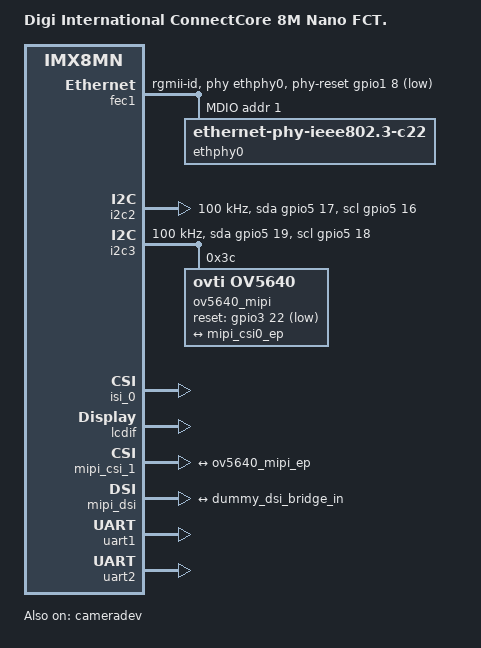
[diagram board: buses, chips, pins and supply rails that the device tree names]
/*
 * Copyright 2021, Digi International Inc.
 *
 * Permission to use, copy, modify, and/or distribute this software for any
 * purpose with or without fee is hereby granted, provided that the above
 * copyright notice and this permission notice appear in all copies.
 * THE SOFTWARE IS PROVIDED "AS IS" AND THE AUTHOR DISCLAIMS ALL WARRANTIES
 * WITH REGARD TO THIS SOFTWARE INCLUDING ALL IMPLIED WARRANTIES OF
 * MERCHANTABILITY AND FITNESS. IN NO EVENT SHALL THE AUTHOR BE LIABLE FOR
 * ANY SPECIAL, DIRECT, INDIRECT, OR CONSEQUENTIAL DAMAGES OR ANY DAMAGES
 * WHATSOEVER RESULTING FROM LOSS OF USE, DATA OR PROFITS, WHETHER IN AN
 * ACTION OF CONTRACT, NEGLIGENCE OR OTHER TORTIOUS ACTION, ARISING OUT OF
 * OR IN CONNECTION WITH THE USE OR PERFORMANCE OF THIS SOFTWARE.
 */

/dts-v1/;

/* i.MX8MN CPU */
#include "../freescale/imx8mn.dtsi"
/* Digi ConnectCore 8M Nano */
#include "ccimx8mn.dtsi"

/ {
	model = "Digi International ConnectCore 8M Nano FCT.";
	compatible = "digi,ccimx8mn-dvk", "digi,ccimx8mn", "digi,ccimx8m", "fsl,imx8mn";
	digi,machine,name = "ccimx8mn-dvk";

	chosen {
		bootargs = "console=ttymxc0,115200 earlycon=ec_imx6q,0x30860000,115200";
		stdout-path = &uart1;
	};

	/* DUMMY MIPI DSI BRIDGE */
	dummy_dsi_bridge {
		compatible = "digi,dummy_dsi_bridge";
		dsi-lanes = <4>;
		video-mode = <1>;
		status = "okay";

		display-timings {
			native-mode = <&mipi_analyzer>;

			/* MIPI Analyzer */
			mipi_analyzer: timing@0 {
				clock-frequency = <31500000>;
				hactive = <640>;
				vactive = <480>;
				hback-porch = <4>;
				hfront-porch = <10>;
				vback-porch = <34>;
				vfront-porch = <20>;
				hsync-len = <2>;
				vsync-len = <2>;
				hsync-active = <0>;
				vsync-active = <0>;
				de-active = <0>;
				pixelclk-active = <0>;
			};
		};
		port {
			dummy_dsi_bridge_in: endpoint {
				remote-endpoint = <&mipi_dsi_out>;
			};
		};
	};

	regulators {
		compatible = "simple-bus";
		#address-cells = <1>;
		#size-cells = <0>;
	};
};

&cameradev {
	status = "okay";
};

&fec1 {
	pinctrl-names = "default";
	pinctrl-0 = <&pinctrl_fec1_gpio>,
		    <&pinctrl_fec1>;
	phy-mode = "rgmii-id";
	phy-handle = <&ethphy0>;
	phy-reset-gpios = <&gpio1 8 GPIO_ACTIVE_LOW>;
	phy-reset-duration = <1>;
	fsl,magic-packet;
	status = "okay";

	mdio {
		#address-cells = <1>;
		#size-cells = <0>;

		ethphy0: ethernet-phy@0 {
			compatible = "ethernet-phy-ieee802.3-c22";
			reg = <1>;
			at803x,eee-disabled;
			at803x,vddio-1p8v;
		};
	};
};

/*
 * I2C2 connected to I2C Temperature Sensor.
 * Also available on:
 * - Parallel Camera connector
 */
&i2c2 {
	#address-cells = <1>;
	#size-cells = <0>;
	clock-frequency = <100000>;
	pinctrl-names = "default", "gpio";
	pinctrl-0 = <&pinctrl_i2c2>;
	pinctrl-1 = <&pinctrl_i2c2_gpio>;
	scl-gpios = <&gpio5 16 GPIO_ACTIVE_HIGH>;
	sda-gpios = <&gpio5 17 GPIO_ACTIVE_HIGH>;
	status = "okay";
};


/* I2C3 connected to MIPI Camera connector */
&i2c3 {
	clock-frequency = <100000>;
	pinctrl-names = "default", "gpio";
	pinctrl-0 = <&pinctrl_i2c3>;
	pinctrl-1 = <&pinctrl_i2c3_gpio>;
	scl-gpios = <&gpio5 18 GPIO_ACTIVE_HIGH>;
	sda-gpios = <&gpio5 19 GPIO_ACTIVE_HIGH>;
	status = "okay";

	/* MIPI-CSI camera */
	ov5640_mipi: ov5640_mipi@3c {
		compatible = "ovti,ov5640";
		reg = <0x3c>;
		pinctrl-names = "default";
		pinctrl-0 = <&pinctrl_mipi>;
		clocks = <&clk IMX8MN_CLK_CLKO1>;
		clock-names = "xclk";
		assigned-clocks = <&clk IMX8MN_CLK_CLKO1>;
		assigned-clock-parents = <&clk IMX8MN_CLK_24M>;
		assigned-clock-rates = <24000000>;
		csi_id = <0>;
		reset-gpios = <&gpio3 22 GPIO_ACTIVE_LOW>;
		mclk = <24000000>;
		mclk_source = <0>;
		mipi_csi;

		port {
			ov5640_mipi_ep: endpoint {
				remote-endpoint = <&mipi_csi0_ep>;
				data-lanes = <1 2>;
				clocks-lanes = <0>;
			};
		};
	};
};

&isi_0 {
	status = "okay";

	cap_device {
		status = "okay";
	};
};

&lcdif {
	status = "okay";
};

&mipi_csi_1 {
	#address-cells = <1>;
	#size-cells = <0>;
	status = "okay";

	/* Camera 0  MIPI CSI-2 (CSIS0) */
	port@0 {
		reg = <0>;
		mipi_csi0_ep: endpoint {
			remote-endpoint = <&ov5640_mipi_ep>;
			data-lanes = <2>;
			csis-hs-settle = <13>;
			csis-clk-settle = <2>;
			csis-wclk;
		};
	};
};

&mipi_dsi {
	status = "okay";

	port@1 {
		mipi_dsi_out: endpoint {
			remote-endpoint = <&dummy_dsi_bridge_in>;
			attach-bridge;
		};
	};
};

/* Console */
&uart1 {
	pinctrl-names = "default", "sleep";
	pinctrl-0 = <&pinctrl_uart1>;
	pinctrl-1 = <&pinctrl_uart1_sleep>;
	status = "okay";
};

/* UART2 (Bluetooth/Loopback) */
&uart2 {
	status = "okay";
};

/* IOMUX */
&iomuxc {
	pinctrl-names = "default";
	pinctrl-0 = <&pinctrl_hog_common>, <&pinctrl_hog_non_wb>;

	pinctrl_hog_common: hoggrpcommon {
		fsl,pins = <
			/* COMMON PAIRS */
			MX8MN_IOMUXC_SAI2_MCLK_GPIO4_IO27	0x140
			MX8MN_IOMUXC_UART2_RXD_GPIO5_IO24	0x140
			MX8MN_IOMUXC_GPIO1_IO14_GPIO1_IO14	0x140
			MX8MN_IOMUXC_UART2_TXD_GPIO5_IO25	0x140
			MX8MN_IOMUXC_GPIO1_IO12_GPIO1_IO12	0x140
			MX8MN_IOMUXC_SAI2_TXFS_GPIO4_IO24	0x140
			MX8MN_IOMUXC_GPIO1_IO13_GPIO1_IO13	0x140
			MX8MN_IOMUXC_SAI5_MCLK_GPIO3_IO25	0x140
			MX8MN_IOMUXC_GPIO1_IO15_GPIO1_IO15	0x140
			MX8MN_IOMUXC_ECSPI2_SCLK_GPIO5_IO10	0x140
			MX8MN_IOMUXC_SAI5_RXD2_GPIO3_IO23	0x140
			MX8MN_IOMUXC_UART1_TXD_GPIO5_IO23	0x140
			MX8MN_IOMUXC_SD2_RESET_B_GPIO2_IO19	0x140
			MX8MN_IOMUXC_SAI5_RXD0_GPIO3_IO21	0x140
			MX8MN_IOMUXC_SAI5_RXD3_GPIO3_IO24	0x140
			MX8MN_IOMUXC_ECSPI2_MOSI_GPIO5_IO11	0x140
			MX8MN_IOMUXC_SAI3_RXFS_GPIO4_IO28	0x140
			MX8MN_IOMUXC_ECSPI2_SS0_GPIO5_IO13	0x140
			MX8MN_IOMUXC_SD2_CMD_GPIO2_IO14		0x140
			MX8MN_IOMUXC_UART1_RXD_GPIO5_IO22	0x140
			MX8MN_IOMUXC_SD2_WP_GPIO2_IO20		0x140
			MX8MN_IOMUXC_ECSPI2_MISO_GPIO5_IO12	0x140
			MX8MN_IOMUXC_SAI3_TXD_GPIO5_IO1		0x140
			MX8MN_IOMUXC_GPIO1_IO06_GPIO1_IO6	0x140
			MX8MN_IOMUXC_SD2_DATA0_GPIO2_IO15	0x140
			MX8MN_IOMUXC_SAI2_TXD0_GPIO4_IO26	0x140
			MX8MN_IOMUXC_SD2_CD_B_GPIO2_IO12	0x140
			MX8MN_IOMUXC_SAI2_RXD0_GPIO4_IO23	0x140
			MX8MN_IOMUXC_SAI3_MCLK_GPIO5_IO2	0x140
			MX8MN_IOMUXC_SAI2_TXC_GPIO4_IO25	0x140
			MX8MN_IOMUXC_SD2_DATA1_GPIO2_IO16	0x140
			MX8MN_IOMUXC_SAI5_RXFS_GPIO3_IO19	0x140
			MX8MN_IOMUXC_SD2_DATA2_GPIO2_IO17	0x140
			MX8MN_IOMUXC_SAI5_RXC_GPIO3_IO20	0x140
			MX8MN_IOMUXC_SD2_DATA3_GPIO2_IO18	0x140
			MX8MN_IOMUXC_UART4_RXD_GPIO5_IO28	0x140
			MX8MN_IOMUXC_SD2_CLK_GPIO2_IO13		0x140
			MX8MN_IOMUXC_UART4_TXD_GPIO5_IO29	0x140
			MX8MN_IOMUXC_ECSPI1_SS0_GPIO5_IO9	0x140
			MX8MN_IOMUXC_ECSPI1_MISO_GPIO5_IO8	0x140
			MX8MN_IOMUXC_ECSPI1_SCLK_GPIO5_IO6	0x140
			MX8MN_IOMUXC_GPIO1_IO07_GPIO1_IO7	0x140
			MX8MN_IOMUXC_SPDIF_RX_GPIO5_IO4		0x140
			MX8MN_IOMUXC_GPIO1_IO09_GPIO1_IO9	0x140
			MX8MN_IOMUXC_SPDIF_EXT_CLK_GPIO5_IO5	0x140
			MX8MN_IOMUXC_GPIO1_IO11_GPIO1_IO11	0x140
			MX8MN_IOMUXC_SPDIF_TX_GPIO5_IO3		0x140
			MX8MN_IOMUXC_GPIO1_IO03_GPIO1_IO3	0x140
			MX8MN_IOMUXC_GPIO1_IO01_GPIO1_IO1	0x140
			MX8MN_IOMUXC_GPIO1_IO10_GPIO1_IO10	0x140
			MX8MN_IOMUXC_ECSPI1_MOSI_GPIO5_IO7	0x100
			MX8MN_IOMUXC_GPIO1_IO04_GPIO1_IO4	0x140
			MX8MN_IOMUXC_NAND_DATA00_GPIO3_IO6	0x140
			MX8MN_IOMUXC_NAND_ALE_GPIO3_IO0		0x140
			MX8MN_IOMUXC_NAND_DATA01_GPIO3_IO7	0x140
			MX8MN_IOMUXC_NAND_CE0_B_GPIO3_IO1	0x140
			MX8MN_IOMUXC_NAND_DQS_GPIO3_IO14	0x140
			MX8MN_IOMUXC_UART3_RXD_GPIO5_IO26	0x140
			MX8MN_IOMUXC_UART3_TXD_GPIO5_IO27	0x140
			MX8MN_IOMUXC_NAND_DATA03_GPIO3_IO9	0x140
			MX8MN_IOMUXC_NAND_DATA02_GPIO3_IO8	0x140
			MX8MN_IOMUXC_I2C4_SCL_GPIO5_IO20	0x140
			MX8MN_IOMUXC_I2C4_SDA_GPIO5_IO21	0x140
		>;
	};

	pinctrl_hog_non_wb: hoggrpnonwb {
		fsl,pins = <
			/* COMMON NON-WIRELESS PAIRS */
			MX8MN_IOMUXC_SD1_DATA7_GPIO2_IO9	0x140
			MX8MN_IOMUXC_SD1_DATA6_GPIO2_IO8	0x140
			/* CC8MN NON-WIRELESS PAIRS */
			MX8MN_IOMUXC_SD1_CLK_GPIO2_IO0		0x140
			MX8MN_IOMUXC_SD1_DATA2_GPIO2_IO4	0x140
			MX8MN_IOMUXC_SD1_CMD_GPIO2_IO1		0x140
			MX8MN_IOMUXC_SD1_DATA3_GPIO2_IO5	0x140
			MX8MN_IOMUXC_SD1_DATA0_GPIO2_IO2	0x140
			MX8MN_IOMUXC_SD1_DATA4_GPIO2_IO6	0x140
			MX8MN_IOMUXC_SD1_DATA1_GPIO2_IO3	0x140
			MX8MN_IOMUXC_SD1_DATA5_GPIO2_IO7	0x140
		>;
	};

	pinctrl_fec1_gpio: fec1gpiogrp {
		fsl,pins = <
			/* PHY reset */
			MX8MN_IOMUXC_GPIO1_IO08_GPIO1_IO8	0x19
			/* PHY interrupt */
			MX8MN_IOMUXC_GPIO1_IO00_GPIO1_IO0	0x19
		>;
	};

	pinctrl_fec1: fec1grp {
		fsl,pins = <
			MX8MN_IOMUXC_ENET_MDC_ENET1_MDC		0x3
			MX8MN_IOMUXC_ENET_MDIO_ENET1_MDIO	0x3
			MX8MN_IOMUXC_ENET_TD3_ENET1_RGMII_TD3	0x1f
			MX8MN_IOMUXC_ENET_TD2_ENET1_RGMII_TD2	0x1f
			MX8MN_IOMUXC_ENET_TD1_ENET1_RGMII_TD1	0x1f
			MX8MN_IOMUXC_ENET_TD0_ENET1_RGMII_TD0	0x1f
			MX8MN_IOMUXC_ENET_RD3_ENET1_RGMII_RD3	0x91
			MX8MN_IOMUXC_ENET_RD2_ENET1_RGMII_RD2	0x91
			MX8MN_IOMUXC_ENET_RD1_ENET1_RGMII_RD1	0x91
			MX8MN_IOMUXC_ENET_RD0_ENET1_RGMII_RD0	0x91
			MX8MN_IOMUXC_ENET_TXC_ENET1_RGMII_TXC	0x1f
			MX8MN_IOMUXC_ENET_RXC_ENET1_RGMII_RXC	0x91
			MX8MN_IOMUXC_ENET_RX_CTL_ENET1_RGMII_RX_CTL	0x91
			MX8MN_IOMUXC_ENET_TX_CTL_ENET1_RGMII_TX_CTL	0x1f
		>;
	};

	pinctrl_i2c2: i2c2grp {
		fsl,pins = <
			MX8MN_IOMUXC_I2C2_SCL_I2C2_SCL			0x400001c3
			MX8MN_IOMUXC_I2C2_SDA_I2C2_SDA			0x400001c3
		>;
	};

	pinctrl_i2c2_gpio: i2c2grp-gpio {
		fsl,pins = <
			MX8MN_IOMUXC_I2C2_SCL_GPIO5_IO16		0x1c3
			MX8MN_IOMUXC_I2C2_SDA_GPIO5_IO17		0x1c3
		>;
	};

	pinctrl_i2c3: i2c3grp {
		fsl,pins = <
			MX8MN_IOMUXC_I2C3_SCL_I2C3_SCL			0x400001c3
			MX8MN_IOMUXC_I2C3_SDA_I2C3_SDA			0x400001c3
		>;
	};

	pinctrl_i2c3_gpio: i2c3grp-gpio {
		fsl,pins = <
			MX8MN_IOMUXC_I2C3_SCL_GPIO5_IO18		0x1c3
			MX8MN_IOMUXC_I2C3_SDA_GPIO5_IO19		0x1c3
		>;
	};

	pinctrl_mipi: mipi {
		fsl,pins = <
			/* MIPI_CSI0_RESET_N */
			MX8MN_IOMUXC_SAI5_RXD1_GPIO3_IO22 	0x19
		>;
	};

	pinctrl_uart1: uart1grp {
		fsl,pins = <
			MX8MN_IOMUXC_SAI2_RXC_UART1_DCE_RX	0x140
			MX8MN_IOMUXC_SAI2_RXFS_UART1_DCE_TX	0x140
		>;
	};

	pinctrl_uart1_sleep: uart1sleepgrp {
		fsl,pins = <
			MX8MN_IOMUXC_SAI2_RXC_GPIO4_IO22	0x100
			MX8MN_IOMUXC_SAI2_RXFS_GPIO4_IO21	0x100
		>;
	};
};
